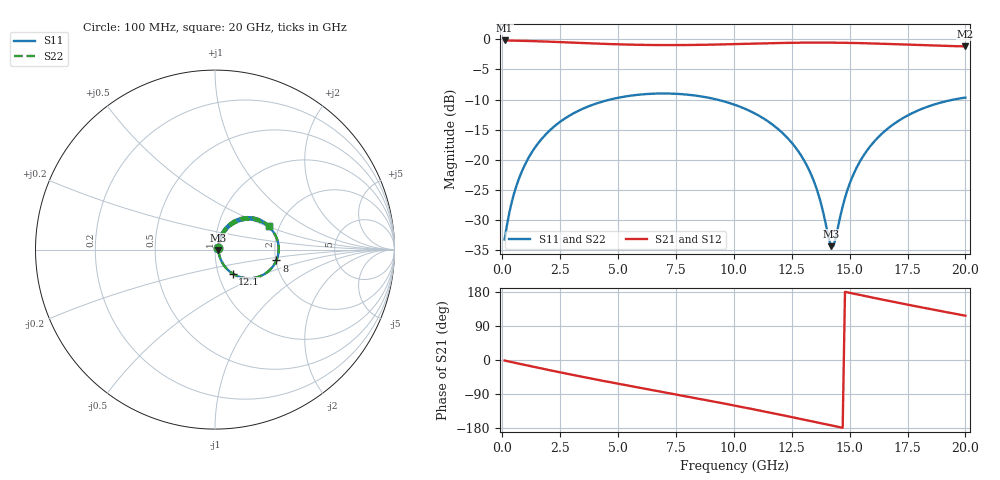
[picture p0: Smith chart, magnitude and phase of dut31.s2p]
! Touchstone file exported from HFSS 2026.1.0
!  File:  C:/ffzhzh/LocalFiles/Ansys_Project_Files/temp_train_TSV_RDL_31_1782964160_15332.aedt
!  Generated:  12:00:06 PM Jul  2, 2026
!  Design:  TSV_RDL
!  Project:  temp_train_TSV_RDL_31_1782964160_15332
! Variables:
!  h_bsmrdl = 3.8um
!  h_ox = 20um
!  h_rdl = 5um
!  h_sub = 81.74um
!  h_tmrdl = 5.36um
!  h_tsv = 81.74um
!  h_via = 3um
!  l_bsmrdl = 235.29um
!  l_sub = 4027.96um
!  l_tmrdl = 698.58um
!  m_sub = 200um
!  pitch = 32.03um
!  r_tsv = 3.57um
!  s_tmrdl = 10um
!  w_bsmrdl = 25.27um
!  w_sub = 500um
!  w_tmrdl = 17.32um
!  x_tsv_center1 = 707.24um
!  x_tsv_center2 = 967.8um
!  x_tsv_center3 = 1683.7um
!  x_tsv_center4 = 1944.26um
!  x_tsv_center5 = 2660.16um
!  x_tsv_center6 = 2920.72um
# GHz S MA R 50.000000
! Terminal data exported
! Port[1] = TM_RDL1_1_T1
! Port[2] = TM_RDL5_1_T1
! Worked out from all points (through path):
!   200 points, 100 MHz to 20 GHz, reference 50 ohm
!   highest |S21| = -0.17 dB at 100 MHz (marker M1); lowest = -1.2 dB at 20 GHz (marker M2)
!   group delay of S21, straight-line fit = 33.6 ps
!   lowest |S11| = -34.4 dB at 14.2 GHz (marker M3), VSWR 1.04, Z = 51.9 - j0.261 ohm
!   |S11| at or under -10 dB: start of sweep to 4.661 GHz; 9.265 GHz to 19.5 GHz (10.24 GHz wide, 71.2 % of centre)
!   |S22| runs from -34.4 to -9.0 dB; largest |S21 - S12| = 1.7e-14
!   S11 on the Smith chart (normalised r, x): 100 MHz: 1.04, +0.02; 8 GHz: 2.01, -0.28; 12.1 GHz: 1.17, -0.32; 20 GHz: 1.77, +0.51
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0.1  0.02164 27.4  0.981 -1.4  0.981 -1.4  0.02164 27.4
! Gamma 0 0 0 0
! Port Impedance 50 0 50 0
0.3  0.03587 50.2  0.9787 -4.1  0.9787 -4.1  0.03587 50.2
0.5  0.05157 57.9  0.9769 -6.8  0.9769 -6.8  0.05157 57.9
1.2  0.1089 61.3  0.9703 -16.0  0.9703 -16.0  0.1089 61.3
2.2  0.1858 52.9  0.9558 -28.9  0.9558 -28.9  0.1858 52.9
3.5  0.2662 38.7  0.9332 -44.9  0.9332 -44.9  0.2662 38.7
5.1  0.3298 21.1  0.9097 -63.7  0.9097 -63.7  0.3297 21.1
6.8  0.3549 2.8  0.898 -83.0  0.898 -83.0  0.3549 2.8
8  0.3471 -10.0  0.899 -96.6  0.899 -96.6  0.3471 -10.0
10.1  0.2832 -32.7  0.9153 -121.0  0.9153 -121.0  0.2832 -32.7
12.1  0.1667 -53.7  0.9353 -145.6  0.9353 -145.6  0.1666 -53.6
12.8  0.1159 -59.4  0.9397 -154.5  0.9397 -154.5  0.1159 -59.3
13.4  0.0704 -60.7  0.9416 -162.2  0.9416 -162.2  0.07034 -60.6
13.7  0.0478 -56.8  0.9418 -166.0  0.9418 -166.0  0.04776 -56.6
14.2  0.01903 -7.6  0.9409 -172.5  0.9409 -172.5  0.01913 -7.2
14.3  0.01911 15.5  0.9405 -173.7  0.9405 -173.7  0.01925 15.8
14.8  0.048 63.8  0.9378 179.8  0.9378 179.8  0.04813 63.7
15.3  0.08546 67.9  0.9338 173.4  0.9338 173.4  0.08557 67.8
15.9  0.1298 64.9  0.9274 165.8  0.9274 165.8  0.1299 64.9
16.7  0.1846 57.8  0.917 155.9  0.917 155.9  0.1847 57.8
18.2  0.2681 42.2  0.8956 137.8  0.8956 137.8  0.2682 42.3
20  0.3282 23.2  0.8758 116.9  0.8758 116.9  0.3282 23.3
